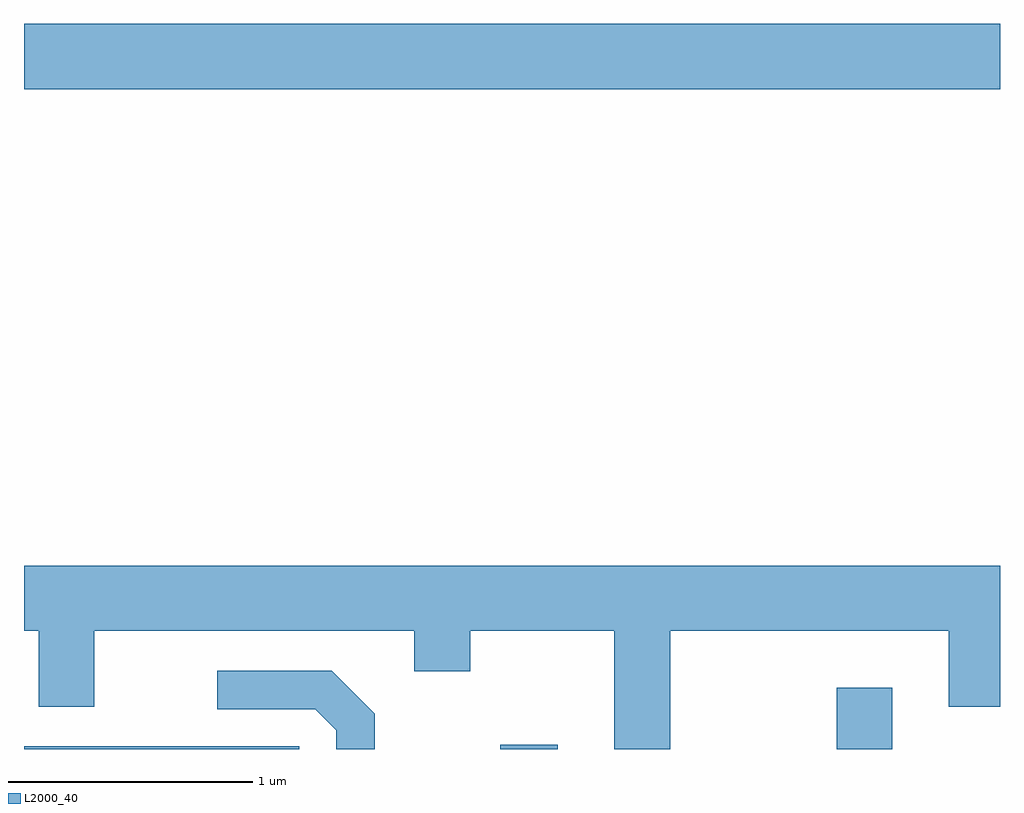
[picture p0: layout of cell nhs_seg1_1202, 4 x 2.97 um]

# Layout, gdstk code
import gdstk
lib = gdstk.Library(unit=1e-6, precision=1e-09)
def R(c, l, rs):  # rectangles x0, y0, x1, y1
    for r in rs: c.add(gdstk.rectangle(r[:2], r[2:], *l))
def P(c, l, *ps):  # polygons
    for p in ps: c.add(gdstk.Polygon(p, *l))
L2000_40 = (2000, 40)

nhs_seg1_1202 = lib.new_cell('nhs_seg1_1202')
R(nhs_seg1_1202, L2000_40, [(221.611,945.712,222.739,945.724), (223.563,945.712,223.799,945.729), (224.941,945.712,225.169,945.964), (221.611,948.416,225.611,948.684)])
P(nhs_seg1_1202, L2000_40, [(224.259,946.196),(225.401,946.196),(225.401,945.886),(225.611,945.886),(225.611,946.464),(221.611,946.464),(221.611,946.196),(221.671,946.196),(221.671,945.886),(221.899,945.886),(221.899,946.196),(223.211,946.196),(223.211,946.031),(223.439,946.031),(223.439,946.196),(224.031,946.196),(224.031,945.712),(224.259,945.712)],
  [(223.049,945.857),(222.872,946.034),(222.403,946.034),(222.403,945.876),(222.804,945.876),(222.891,945.789),(222.891,945.712),(223.049,945.712)])

lib.write_gds('nhs_seg1_1202.gds')
